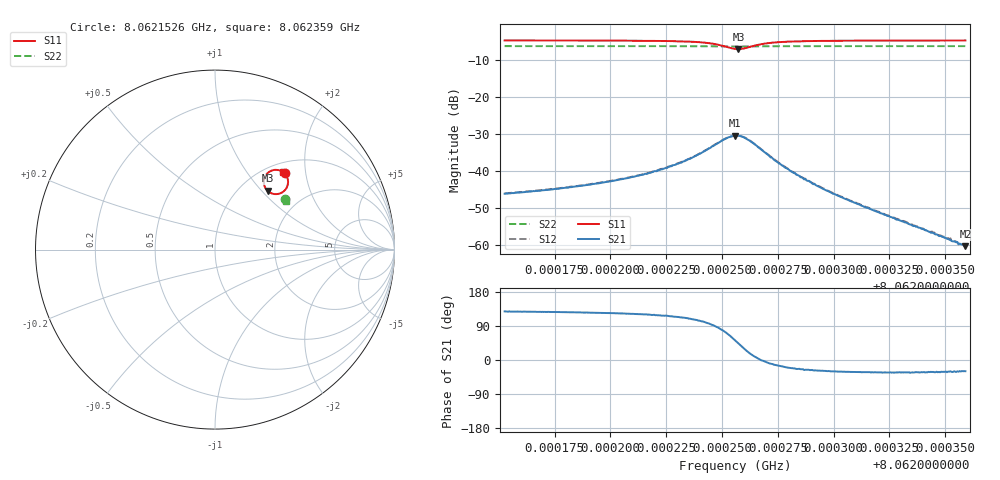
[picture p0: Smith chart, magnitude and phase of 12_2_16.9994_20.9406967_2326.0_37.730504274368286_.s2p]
#  HZ  S  RI  R  50.00
! Rohde & Schwarz Vector Network Analyzer
! Rohde-Schwarz,ZNB20-2Port,1311601062101988,3.16
! Created: UTC 3/20/2024, 10:52:37 PM
! freq[Hz]  re:S11  im:S11  re:S21  im:S21  re:S12  im:S12  re:S22  im:S22
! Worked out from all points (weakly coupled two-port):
!   401 points, 8.0621526 GHz to 8.062359 GHz, reference 50 ohm
!   highest |S21| = -30.48 dB at 8.0622558 GHz (marker M1); lowest = -60.3 dB at 8.062359 GHz (marker M2)
!   lowest |S11| = -7.1 dB at 8.0622573 GHz (marker M3), VSWR 2.57, Z = 66.4 + j53.9 ohm
!   |S11| at or under -10 dB: nowhere
!   |S22| runs from -6.4 to -6.3 dB; largest |S21 - S12| = 0.0019
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8.06215256e9  0.388 0.4244  -0.00305 0.00387  -0.00282 0.00409  0.3914 0.2821
8.06217321e9  0.3913 0.421  -0.00334 0.00448  -0.00314 0.00477  0.3921 0.281
8.06218714e9  0.3938 0.4174  -0.00366 0.00513  -0.00339 0.00541  0.3927 0.2799
8.06220624e9  0.3985 0.4102  -0.00423 0.00663  -0.00387 0.00695  0.3932 0.2788
8.06221708e9  0.4019 0.4031  -0.00465 0.00804  -0.00417 0.00848  0.3938 0.2779
8.06222172e9  0.4035 0.3988  -0.00483 0.00907  -0.00433 0.00943  0.3939 0.2774
8.06223411e9  0.4071 0.3797  -0.0049 0.0131  -0.00411 0.0134  0.394 0.2761
8.06224495e9  0.3979 0.3423  -0.00156 0.0206  -0.000361 0.021  0.3935 0.2741
8.06225166e9  0.3574 0.3114  0.00811 0.0261  0.00971 0.0258  0.3914 0.2732
8.06225579e9  0.3094 0.316  0.0184 0.0236  0.0198 0.0226  0.3896 0.274
8.06225733e9  0.2927 0.3275  0.0215 0.0205  0.023 0.0194  0.3892 0.2745
8.0622594e9  0.2774 0.3496  0.0243 0.0154  0.0252 0.0141  0.3889 0.2756
8.06226198e9  0.2717 0.3793  0.0246 0.00862  0.0252 0.00734  0.3893 0.2767
8.06226921e9  0.297 0.4295  0.0177 -0.00137  0.0177 -0.00247  0.3912 0.2782
8.06227643e9  0.3233 0.4425  0.0117 -0.0034  0.0115 -0.00425  0.3929 0.2781
8.06228108e9  0.3347 0.4444  0.00913 -0.00358  0.00902 -0.00405  0.3935 0.278
8.06229037e9  0.3497 0.4437  0.00607 -0.003  0.00598 -0.00346  0.3944 0.2771
8.0623043e9  0.3618 0.4408  0.00369 -0.00222  0.0036 -0.00246  0.3953 0.2761
8.06232495e9  0.3711 0.4369  0.00204 -0.00134  0.00197 -0.00147  0.3961 0.2749
8.06235127e9  0.3777 0.4332  0.00104 -0.000613  0.00102 -0.000715  0.3971 0.2734
8.06235695e9  0.3786 0.4324  0.000888 -0.000522  0.00086 -0.00058  0.3974 0.273
8.06235901e9  0.379 0.4322  0.00084 -0.000477  0.00085 -0.000541  0.3976 0.273
